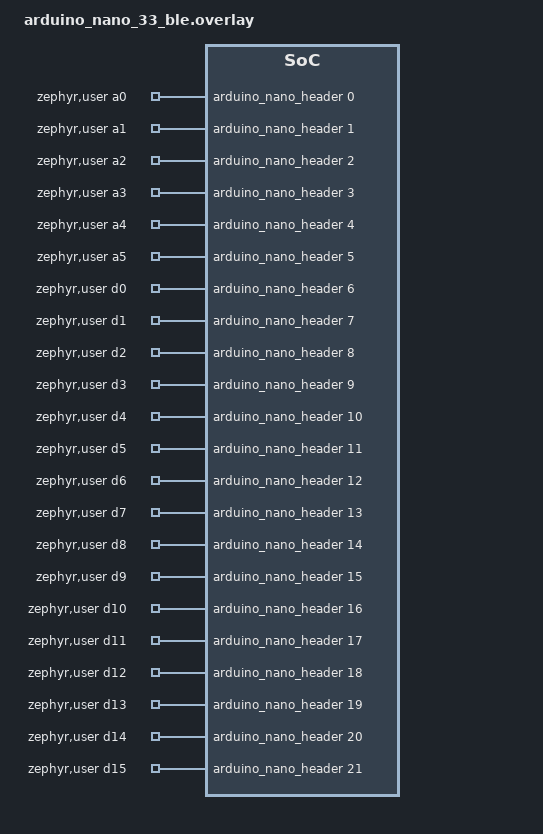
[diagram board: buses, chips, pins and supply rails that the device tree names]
/ {
	zephyr,user {
        a0_gpios = <&arduino_nano_header 0 0>;
		a1_gpios = <&arduino_nano_header 1 0>;
		a2_gpios = <&arduino_nano_header 2 0>;
        a3_gpios = <&arduino_nano_header 3 0>;
		a4_gpios = <&arduino_nano_header 4 0>;
		a5_gpios = <&arduino_nano_header 5 0>;
		d0_gpios = <&arduino_nano_header 6 0>;
		d1_gpios = <&arduino_nano_header 7 0>;
		d2_gpios = <&arduino_nano_header 8 0>;
        d3_gpios = <&arduino_nano_header 9 0>;
		d4_gpios = <&arduino_nano_header 10 0>;
		d5_gpios = <&arduino_nano_header 11 0>;
        d6_gpios = <&arduino_nano_header 12 0>;
		d7_gpios = <&arduino_nano_header 13 0>;
		d8_gpios = <&arduino_nano_header 14 0>;
        d9_gpios = <&arduino_nano_header 15 0>;
		d10_gpios = <&arduino_nano_header 16 0>;
		d11_gpios = <&arduino_nano_header 17 0>;
        d12_gpios = <&arduino_nano_header 18 0>;
        d13_gpios = <&arduino_nano_header 19 0>;
		d14_gpios = <&arduino_nano_header 20 0>;
		d15_gpios = <&arduino_nano_header 21 0>;
	};
};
